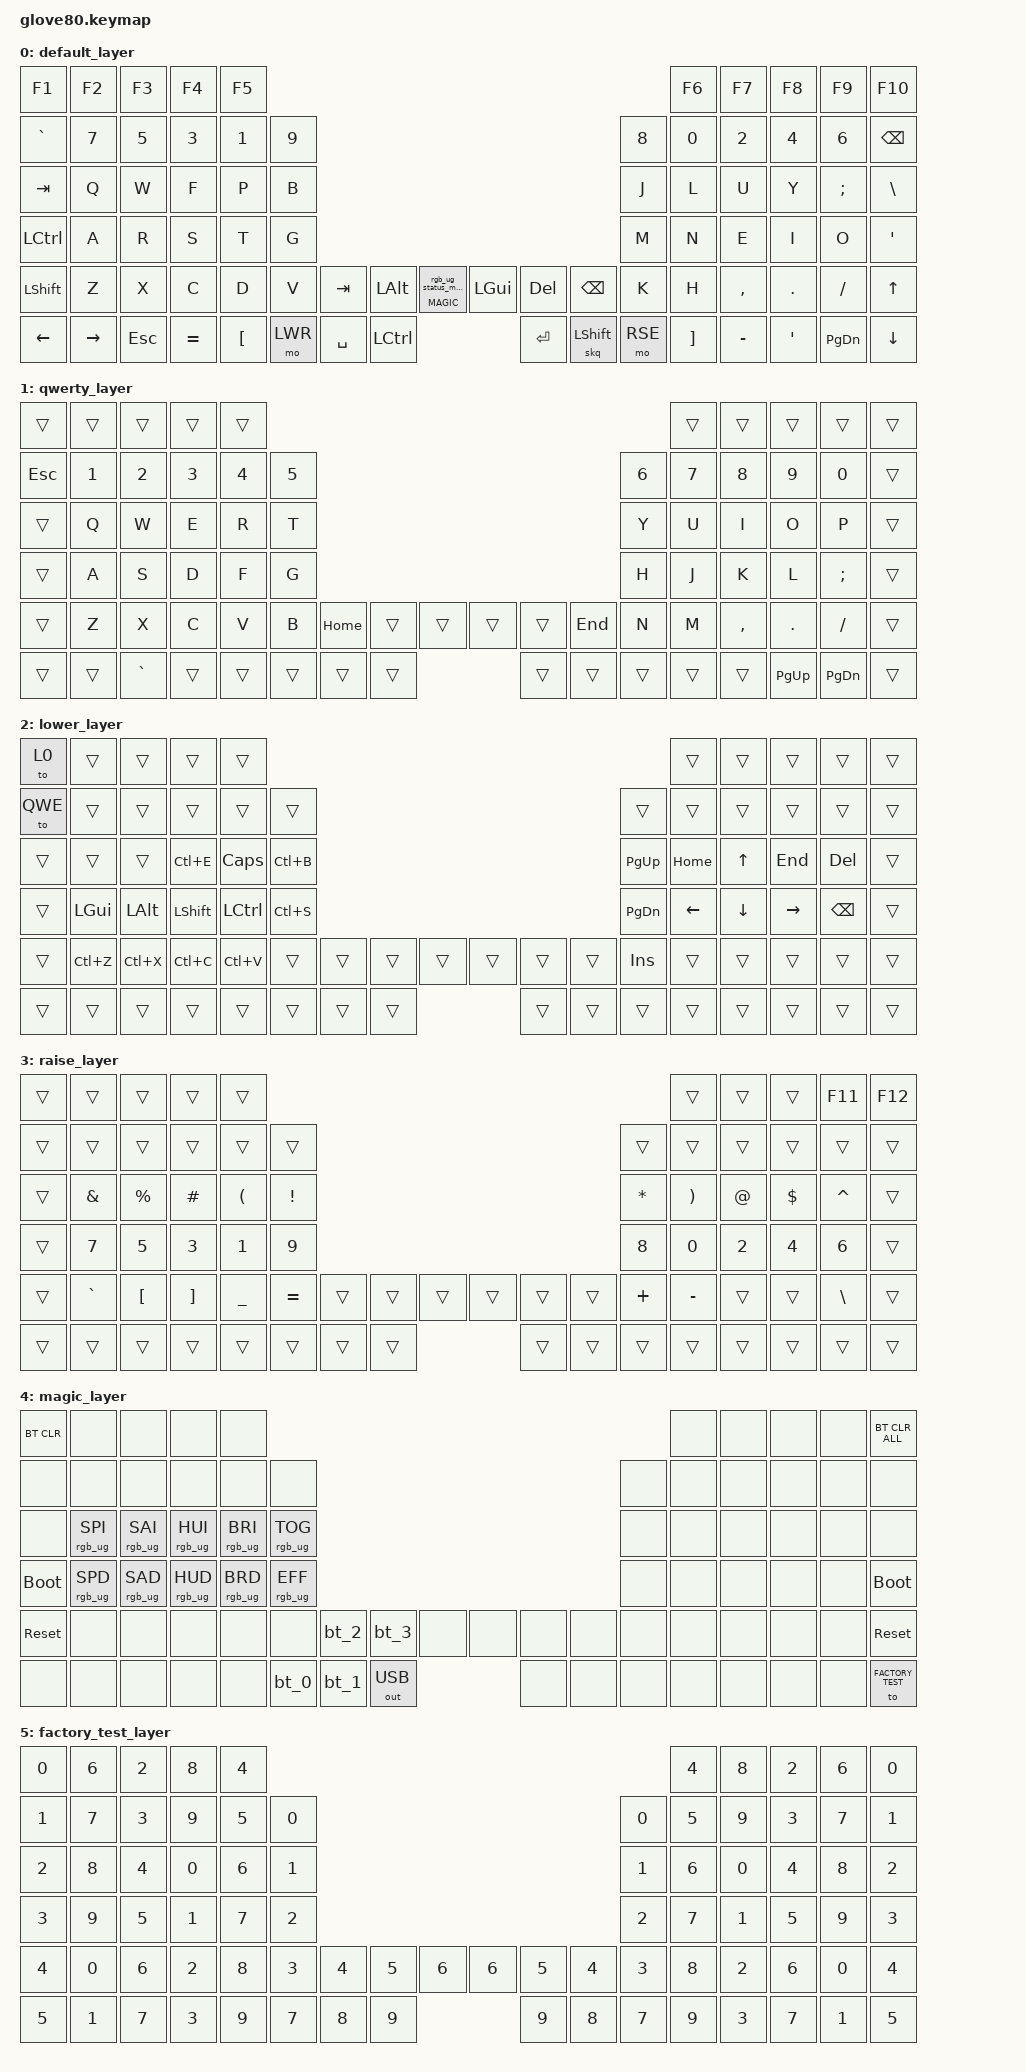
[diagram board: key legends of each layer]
/*
 * Copyright (c) 2020 The ZMK Contributors
 *
 * SPDX-License-Identifier: MIT
 */

#include <behaviors.dtsi>
#include <dt-bindings/zmk/keys.h>
#include <dt-bindings/zmk/bt.h>
#include <dt-bindings/zmk/ext_power.h>
#include <dt-bindings/zmk/outputs.h>
#include <dt-bindings/zmk/rgb.h>

#define HYPER LC(LS(LG(LALT)))

// layers
#define DEFAULT 0
#define QWE 1
#define LWR 2
#define RSE 3
#define MAGIC 4
#define FACTORY_TEST 5

/ {
    behaviors {
        // For the "layer" key, it'd nice to be able to use it as either a shift or a toggle.
        // Configure it as a tap dance, so the first tap (or hold) is a &mo and the second tap is a &to
/*      layer_td: tap_dance_0 {
            compatible = "zmk,behavior-tap-dance";
            label = "LAYER_TAP_DANCE";
            #binding-cells = <0>;
            tapping-term-ms = <200>;
            bindings = <&mo LOWER>, <&to LOWER>;
        }; */
		skq: sticky_key_quick_release {
			compatible = "zmk,behavior-sticky-key";
			label = "STICKY_KEY_QUICK_RELEASE";
			#binding-cells = <1>;
			bindings = <&kp>;
			release-after-ms = <500>;
			quick-release;
		};
		pht: positional_hold_tap {
			compatible = "zmk,behavior-hold-tap";
			label = "POSITIONAL_HOLD_TAP";
			#binding-cells = <2>;
			flavor = "hold-preferred";
			tapping-term-ms = <200>;
			quick-tap-ms = <200>;
			bindings = <&kp>, <&kp>;
		};
        magic: magic_hold_tap {
            compatible = "zmk,behavior-hold-tap";
            label = "MAGIC_HOLD_TAP";
            #binding-cells = <2>;
            flavor = "tap-preferred";
            tapping-term-ms = <200>;
            bindings = <&mo>, <&rgb_ug_status_macro>;
        };
    };

    macros {
        rgb_ug_status_macro: rgb_ug_status_macro_0 {
            label = "RGB_UG_STATUS";
            compatible = "zmk,behavior-macro";
            #binding-cells = <0>;
            bindings
                = <&rgb_ug RGB_STATUS>;
        };

        bt_0: bt_profile_macro_0 {
            label = "BT_0";
            compatible = "zmk,behavior-macro";
            #binding-cells = <0>;
            bindings
                = <&out OUT_BLE>,
                  <&bt BT_SEL 0>;
        };

        bt_1: bt_profile_macro_1 {
            label = "BT_1";
            compatible = "zmk,behavior-macro";
            #binding-cells = <0>;
            bindings
                = <&out OUT_BLE>,
                  <&bt BT_SEL 1>;
        };

        bt_2: bt_profile_macro_2 {
            label = "BT_2";
            compatible = "zmk,behavior-macro";
            #binding-cells = <0>;
            bindings
                = <&out OUT_BLE>,
                  <&bt BT_SEL 2>;
        };

        bt_3: bt_profile_macro_3 {
            label = "BT_3";
            compatible = "zmk,behavior-macro";
            #binding-cells = <0>;
            bindings
                = <&out OUT_BLE>,
                  <&bt BT_SEL 3>;
        };
    };

    keymap {
        compatible = "zmk,keymap";

        default_layer {
            bindings = <
           &kp F1      &kp F2   &kp F3    &kp F4     &kp F5                                                                                      &kp F6     &kp F7    &kp F8   &kp F9    &kp F10
           &kp GRAVE   &kp N7   &kp N5    &kp N3     &kp N1   &kp N9                                                                     &kp N8  &kp N0     &kp N2    &kp N4   &kp N6    &kp BSPC
           &kp TAB     &kp Q    &kp W     &kp F      &kp P    &kp B                                                                      &kp J   &kp L      &kp U     &kp Y    &kp SEMI  &kp BSLH
           &kp LCTRL   &kp A    &kp R     &kp S      &kp T    &kp G                                                                      &kp M   &kp N      &kp E     &kp I    &kp O     &kp SQT
           &kp LSHFT   &kp Z    &kp X     &kp C      &kp D    &kp V  &kp TAB   &kp LALT   &magic MAGIC 0  &kp LGUI  &kp DEL    &kp BSPC  &kp K   &kp H    &kp COMMA   &kp DOT  &kp FSLH  &kp UP
           &kp LEFT   &kp RIGHT &kp ESC   &kp EQUAL  &kp LBKT        &mo LWR   &kp SPACE  &kp LCTRL       &kp RET   &skq LSHFT &mo RSE           &kp RBKT &kp MINUS   &kp SQT  &kp PG_DN &kp DOWN
            >;
        };
        qwerty_layer {
          bindings = <
		  &trans  &trans   &trans    &trans     &trans                                                                       &trans     &trans    &trans   &trans   &trans
		  &kp ESC &kp N1   &kp N2    &kp N3     &kp N4  &kp N5                                                       &kp N6  &kp N7     &kp N8    &kp N9   &kp N0   &trans
		  &trans  &kp Q    &kp W     &kp E      &kp R   &kp T                                                        &kp Y   &kp U      &kp I     &kp O    &kp P    &trans
		  &trans  &kp A    &kp S     &kp D      &kp F   &kp G                                                        &kp H   &kp J      &kp K     &kp L    &kp SEMI &trans
		  &trans  &kp Z    &kp X     &kp C      &kp V   &kp B  &kp HOME  &trans    &trans  &trans  &trans  &kp END   &kp N   &kp M    &kp COMMA   &kp DOT  &kp FSLH &trans
		  &trans  &trans   &kp GRAVE &trans     &trans         &trans    &trans    &trans  &trans  &trans  &trans            &trans     &trans    &kp PG_UP &kp PG_DN    &trans
          >;
        };		

        lower_layer {
            bindings = <
		   &to 0   &trans    &trans    &trans    &trans                                                                           &trans    &trans    &trans    &trans   &trans
		   &to QWE &trans    &trans    &trans    &trans    &trans                                                       &trans    &trans    &trans    &trans    &trans   &trans
		   &trans  &trans    &trans    &kp LC(E) &kp CAPS  &kp LC(B)                                                    &kp PG_UP &kp HOME  &kp UP    &kp END   &kp DEL  &trans
		   &trans  &kp LGUI  &kp LALT  &kp LSHFT &kp LCTRL &kp LC(S)                                                    &kp PG_DN &kp LEFT  &kp DOWN  &kp RIGHT &kp BSPC &trans
		   &trans  &kp LC(Z) &kp LC(X) &kp LC(C) &kp LC(V) &trans    &trans    &trans    &trans  &trans  &trans  &trans &kp INS   &trans    &trans    &trans    &trans   &trans
		   &trans  &trans    &trans    &trans    &trans              &trans    &trans    &trans  &trans  &trans  &trans           &trans    &trans    &trans    &trans   &trans
            >;
        };
		
        raise_layer {
            bindings = <
		   &trans  &trans    &trans    &trans    &trans                                                                           &trans    &trans    &trans    &kp F11   &kp F12
		   &trans  &trans    &trans    &trans    &trans    &trans                                                       &trans    &trans    &trans    &trans    &trans    &trans
		   &trans  &kp AMPS  &kp PRCNT &kp HASH  &kp LPAR  &kp EXCL                                                     &kp ASTRK &kp RPAR  &kp AT    &kp DLLR  &kp CARET &trans
		   &trans  &kp N7    &kp N5    &kp N3    &kp N1    &kp N9                                                       &kp N8    &kp N0    &kp N2    &kp N4    &kp N6    &trans
		   &trans  &kp GRAVE &kp LBKT  &kp RBKT  &kp UNDER &kp EQUAL &trans    &trans    &trans  &trans  &trans  &trans &kp PLUS  &kp MINUS &trans    &trans    &kp BSLH  &trans
		   &trans  &trans    &trans    &trans    &trans              &trans    &trans    &trans  &trans  &trans  &trans           &trans    &trans    &trans    &trans    &trans
            >;
        };		

        magic_layer {
            bindings = <
            &bt BT_CLR        &none               &none           &none           &none                                                                                                           &none      &none      &none      &none      &bt BT_CLR_ALL
            &none             &none               &none           &none           &none           &none                                                                                &none      &none      &none      &none      &none      &none
            &none             &rgb_ug RGB_SPI     &rgb_ug RGB_SAI &rgb_ug RGB_HUI &rgb_ug RGB_BRI &rgb_ug RGB_TOG                                                                      &none      &none      &none      &none      &none      &none
            &bootloader       &rgb_ug RGB_SPD     &rgb_ug RGB_SAD &rgb_ug RGB_HUD &rgb_ug RGB_BRD &rgb_ug RGB_EFF                                                                      &none      &none      &none      &none      &none      &bootloader
            &sys_reset        &none               &none           &none           &none           &none           &bt_2     &bt_3     &none            &none     &none     &none       &none      &none      &none      &none      &none      &sys_reset
            &none             &none               &none           &none           &none                           &bt_0     &bt_1     &out OUT_USB     &none     &none     &none                  &none      &none      &none      &none      &to FACTORY_TEST
            >;
        };

        factory_test_layer {
            bindings = <
            &kp N0   &kp N6   &kp N2   &kp N8   &kp N4                                                                              &kp N4   &kp N8   &kp N2   &kp N6   &kp N0
            &kp N1   &kp N7   &kp N3   &kp N9   &kp N5   &kp N0                                                            &kp N0   &kp N5   &kp N9   &kp N3   &kp N7   &kp N1
            &kp N2   &kp N8   &kp N4   &kp N0   &kp N6   &kp N1                                                            &kp N1   &kp N6   &kp N0   &kp N4   &kp N8   &kp N2
            &kp N3   &kp N9   &kp N5   &kp N1   &kp N7   &kp N2                                                            &kp N2   &kp N7   &kp N1   &kp N5   &kp N9   &kp N3
            &kp N4   &kp N0   &kp N6   &kp N2   &kp N8   &kp N3   &kp N4   &kp N5   &kp N6      &kp N6   &kp N5   &kp N4   &kp N3   &kp N8   &kp N2   &kp N6   &kp N0   &kp N4
            &kp N5   &kp N1   &kp N7   &kp N3   &kp N9            &kp N7   &kp N8   &kp N9      &kp N9   &kp N8   &kp N7            &kp N9   &kp N3   &kp N7   &kp N1   &kp N5
            >;
        };
    };
};
